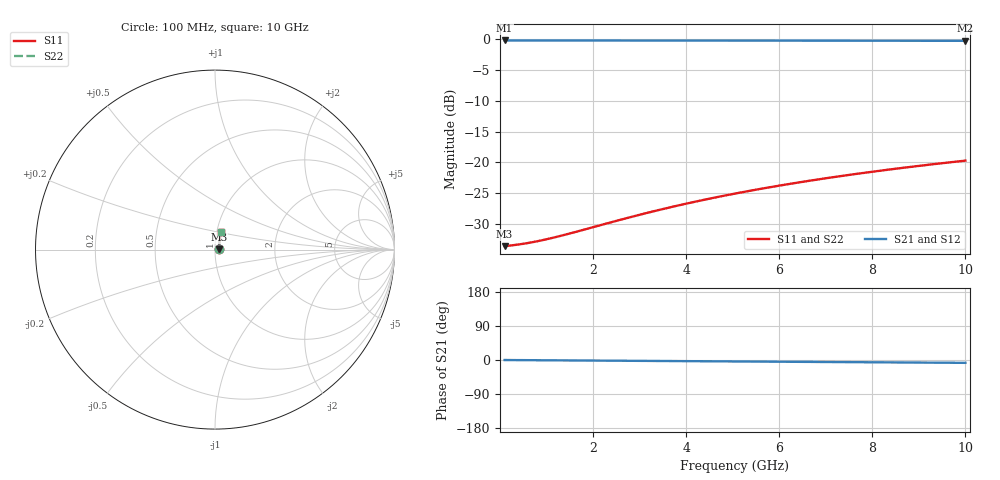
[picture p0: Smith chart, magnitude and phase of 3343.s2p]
# Hz S RI R 50.00
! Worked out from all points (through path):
!   100 points, 100 MHz to 10 GHz, reference 50 ohm
!   highest |S21| = -0.18 dB at 100 MHz (marker M1); lowest = -0.2 dB at 10 GHz (marker M2)
!   group delay of S21, straight-line fit = 2.09 ps
!   lowest |S11| = -33.6 dB at 100 MHz (marker M3), VSWR 1.04, Z = 52.1 + j0.103 ohm
!   |S11| at or under -10 dB: start of sweep to end of sweep
!   |S22| runs from -33.6 to -19.7 dB; largest |S21 - S12| = 1e-14
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1e8  0.0208 0.000988  0.9792 -0.00129  0.9792 -0.00129  0.0208 0.000988
3e8  0.0211 0.00296  0.9789 -0.00387  0.9789 -0.00387  0.0211 0.00296
5e8  0.0212 0.00494  0.9788 -0.00644  0.9788 -0.00644  0.0212 0.00494
8e8  0.0214 0.0079  0.9786 -0.0103  0.9786 -0.0103  0.0214 0.0079
1e9  0.0216 0.00987  0.9784 -0.0129  0.9784 -0.0129  0.0216 0.00987
1.2e9  0.0217 0.0118  0.9783 -0.0155  0.9783 -0.0155  0.0217 0.0118
1.5e9  0.0219 0.0148  0.9781 -0.0193  0.9781 -0.0193  0.0219 0.0148
1.8e9  0.0221 0.0177  0.9779 -0.0232  0.9779 -0.0232  0.0221 0.0177
2.7e9  0.0228 0.0266  0.9772 -0.0347  0.9772 -0.0347  0.0228 0.0266
3.1e9  0.0232 0.0305  0.9768 -0.0399  0.9768 -0.0399  0.0232 0.0305
3.4e9  0.0235 0.0335  0.9765 -0.0437  0.9765 -0.0437  0.0235 0.0335
3.8e9  0.0239 0.0374  0.976 -0.0488  0.976 -0.0488  0.0239 0.0374
4.2e9  0.0244 0.0413  0.9755 -0.0539  0.9755 -0.0539  0.0244 0.0413
4.6e9  0.0249 0.0452  0.975 -0.059  0.975 -0.059  0.0249 0.0452
5.1e9  0.0256 0.0501  0.9743 -0.0654  0.9743 -0.0654  0.0256 0.0501
5.5e9  0.0262 0.0539  0.9737 -0.0705  0.9737 -0.0705  0.0262 0.0539
5.9e9  0.0268 0.0578  0.973 -0.0756  0.973 -0.0756  0.0268 0.0578
6.7e9  0.0282 0.0656  0.9716 -0.0857  0.9716 -0.0857  0.0282 0.0656
7.5e9  0.0297 0.0733  0.97 -0.0959  0.97 -0.0959  0.0297 0.0733
8.4e9  0.0316 0.0819  0.9681 -0.1072  0.9681 -0.1072  0.0316 0.0819
9.2e9  0.0335 0.0895  0.9661 -0.1172  0.9661 -0.1172  0.0335 0.0895
1e10  0.0355 0.097  0.964 -0.1272  0.964 -0.1272  0.0355 0.097
